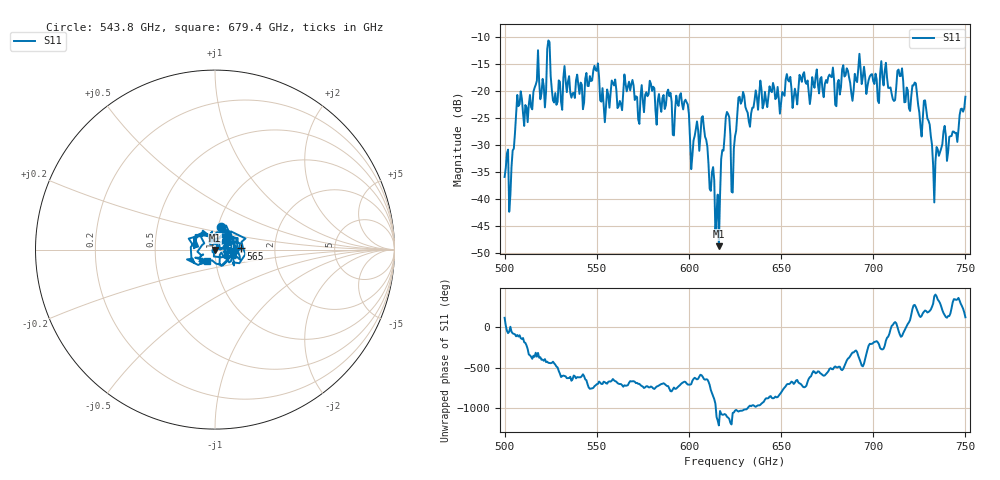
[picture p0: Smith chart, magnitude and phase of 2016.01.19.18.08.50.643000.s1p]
!Created with skrf (http://scikit-rf.org).
# GHz S RI R 50.0
!freq ReS11 ImS11
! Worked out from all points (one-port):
!   401 points, 500 GHz to 750 GHz, reference 50 ohm
!   lowest |S11| = -48.7 dB at 616.2 GHz (marker M1), VSWR 1.01, Z = 49.8 - j0.277 ohm
!   |S11| at or under -10 dB: start of sweep to end of sweep
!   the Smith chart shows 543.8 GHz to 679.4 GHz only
!   S11 on the Smith chart (normalised r, x): 543.8 GHz: 1.03, +0.27; 565 GHz: 1.33, +0.02; 679.4 GHz: 0.91, -0.11
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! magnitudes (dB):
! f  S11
! 500 GHz  -35.9
! 503.8 GHz  -34.0
! 508.1 GHz  -22.4
! 520.6 GHz  -17.7
! 523.8 GHz  -10.6
! 527.5 GHz  -20.4
! 531.2 GHz  -23.5
! 543.8 GHz  -17.7
! 549.4 GHz  -16.1
! 553.1 GHz  -19.4
! 562.5 GHz  -21.8
! 565 GHz  -16.9
! 593.8 GHz  -22.2
! 598.8 GHz  -22.1
! 601.9 GHz  -32.0
! 608.1 GHz  -26.7
! 616.2 GHz  -48.7
! 620.6 GHz  -23.9
! 625 GHz  -28.4
! 628.1 GHz  -22.3
! 656.2 GHz  -23.1
! 679.4 GHz  -22.5
! 687.5 GHz  -18.5
! 714.4 GHz  -17.2
! 718.8 GHz  -19.8
! 728.8 GHz  -23.4
! 733.8 GHz  -33.0
! 750 GHz  -21.0
